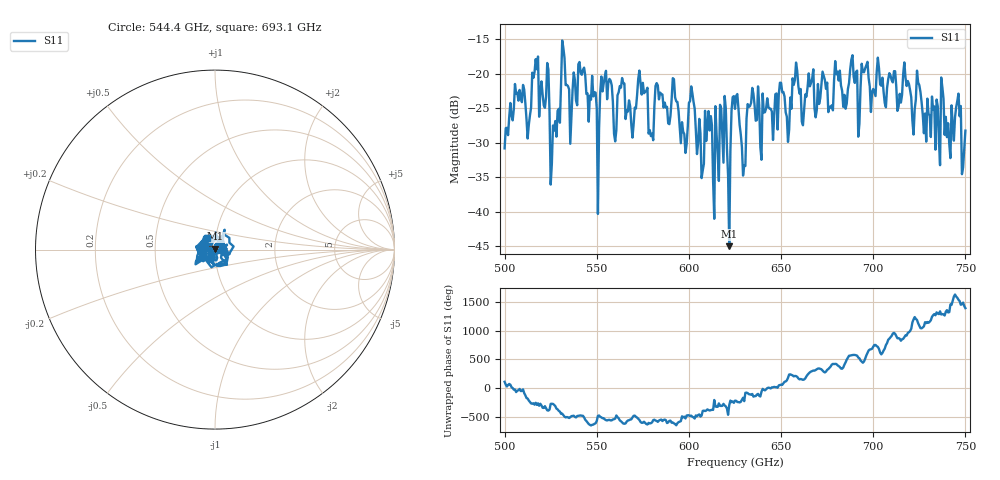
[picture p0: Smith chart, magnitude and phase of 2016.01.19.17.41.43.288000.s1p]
!Created with skrf (http://scikit-rf.org).
# GHz S RI R 50.0
!freq ReS11 ImS11
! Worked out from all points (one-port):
!   401 points, 500 GHz to 750 GHz, reference 50 ohm
!   lowest |S11| = -45.0 dB at 621.9 GHz (marker M1), VSWR 1.01, Z = 50.2 + j0.525 ohm
!   |S11| at or under -10 dB: start of sweep to end of sweep
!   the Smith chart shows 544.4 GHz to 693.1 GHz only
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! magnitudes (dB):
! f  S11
! 500 GHz  -30.8
! 506.9 GHz  -22.8
! 513.1 GHz  -27.4
! 516.9 GHz  -17.9
! 526.2 GHz  -27.5
! 531.2 GHz  -15.2
! 535.6 GHz  -30.2
! 541.9 GHz  -20.2
! 550 GHz  -25.1
! 553.8 GHz  -21.4
! 560 GHz  -29.8
! 562.5 GHz  -21.8
! 570 GHz  -27.3
! 573.8 GHz  -21.4
! 579.4 GHz  -29.1
! 583.1 GHz  -21.7
! 593.8 GHz  -24.1
! 614.4 GHz  -24.7
! 618.8 GHz  -32.9
! 621.9 GHz  -45.0
! 625 GHz  -25.1
! 629.4 GHz  -34.8
! 633.8 GHz  -24.2
! 656.2 GHz  -20.7
! 676.9 GHz  -24.9
! 687.5 GHz  -19.4
! 718.8 GHz  -21.1
! 750 GHz  -28.3
